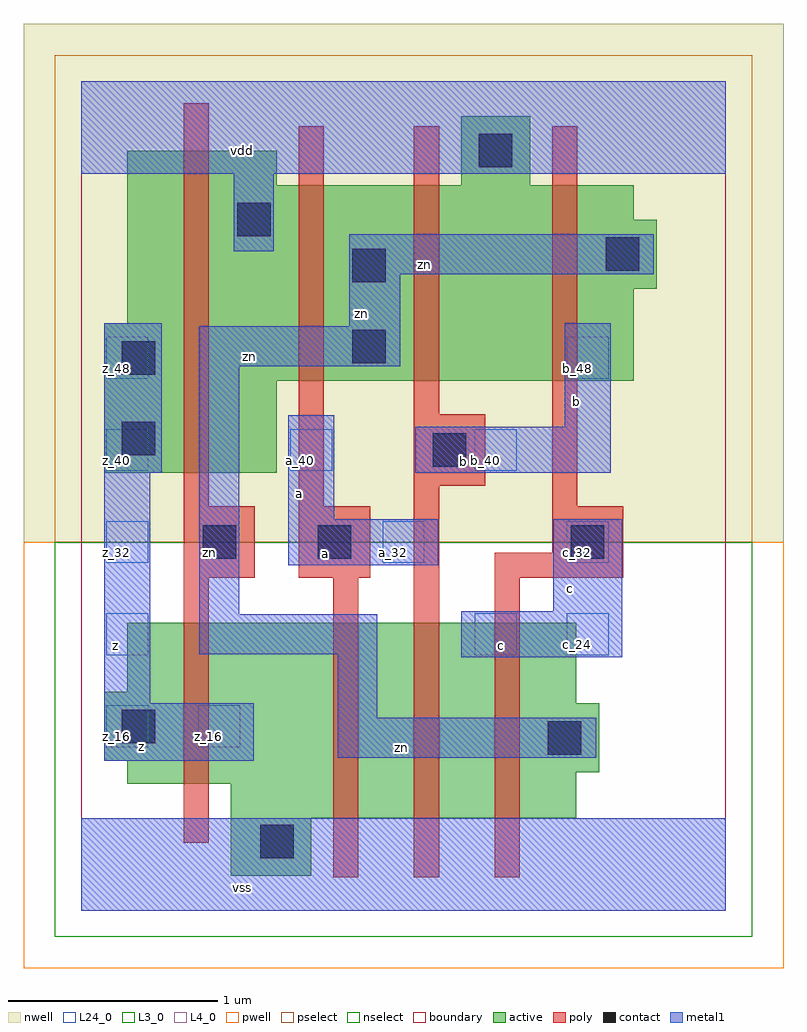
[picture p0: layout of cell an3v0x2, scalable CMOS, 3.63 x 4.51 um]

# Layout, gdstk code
import gdstk
lib = gdstk.Library(unit=1e-6, precision=2.5e-09)
def R(c, l, rs):  # rectangles x0, y0, x1, y1
    for r in rs: c.add(gdstk.rectangle(r[:2], r[2:], *l))
def A(c, l, x, y, w, h, nx, ny, dx, dy):  # array of equal rectangles
    R(c, l, [(x+i*dx, y+j*dy, x+i*dx+w, y+j*dy+h) for i in range(nx) for j in range(ny)])
L3_0 = (3, 0)
L4_0 = (4, 0)
L24_0 = (24, 0)
contact = (25, 0)
pwell = (41, 0)
nwell = (42, 0)
active = (43, 0)
pselect = (44, 0)
nselect = (45, 0)
poly = (46, 0)
metal1 = (49, 0)
boundary = (63, 0)

an3v0x2 = lib.new_cell('an3v0x2')
R(an3v0x2, L3_0, [(0.715,0.165,1.1,0.44), (0.715,0.44,2.365,0.605), (0.22,0.605,2.365,0.66), (0.22,0.66,2.475,0.715), (0.11,0.715,2.475,0.99), (0.11,0.99,2.365,1.045), (0.22,1.045,2.365,1.375)])
R(an3v0x2, L4_0, [(0.11,2.09,0.935,2.53), (0.11,2.53,2.64,2.805), (0.22,2.805,2.64,2.97), (0.22,2.97,2.75,3.3), (0.22,3.3,2.64,3.465), (0.22,3.465,0.935,3.63), (1.815,3.465,2.145,3.795)])
A(an3v0x2, L24_0, 0.12, 0.78, 0.2, 0.2, 1, 3, 0, 0.44)
A(an3v0x2, L24_0, 0.12, 2.1, 0.2, 0.2, 3, 1, 0.88, 0)
R(an3v0x2, L24_0, [(0.56,0.78,0.76,0.98), (1.88,1.22,2.08,1.42), (2.32,1.22,2.52,1.42), (1.44,1.66,1.64,1.86), (2.32,1.66,2.52,1.86), (0.12,2.54,0.32,2.74), (2.32,2.54,2.52,2.74)])
R(an3v0x2, contact, [(0.855,0.25,1.015,0.41), (2.23,0.745,2.39,0.905), (0.195,0.8,0.355,0.96), (0.58,1.68,0.74,1.84), (1.13,1.68,1.29,1.84), (2.34,1.68,2.5,1.84), (1.68,2.12,1.84,2.28), (0.195,2.175,0.355,2.335), (0.195,2.56,0.355,2.72), (1.295,2.615,1.455,2.775), (1.295,3,1.455,3.16), (2.505,3.055,2.665,3.215), (0.745,3.22,0.905,3.38), (1.9,3.55,2.06,3.71)])
R(an3v0x2, pwell, [(-0.275,-0.275,3.355,1.76)])
R(an3v0x2, nwell, [(-0.275,1.76,3.355,4.235)])
R(an3v0x2, active, [(0.715,0.165,1.1,0.44), (0.715,0.44,2.365,0.605), (0.22,0.605,2.365,0.66), (0.22,0.66,2.475,0.715), (0.11,0.715,2.475,0.99), (0.11,0.99,2.365,1.045), (0.22,1.045,2.365,1.375), (0.11,2.09,0.935,2.53), (0.11,2.53,2.64,2.805), (0.22,2.805,2.64,2.97), (0.22,2.97,2.75,3.3), (0.22,3.3,2.64,3.465), (0.22,3.465,0.935,3.63), (1.815,3.465,2.145,3.795)])
R(an3v0x2, pselect, [(-0.125,1.76,3.205,4.085)])
R(an3v0x2, nselect, [(-0.125,-0.125,3.205,1.76)])
R(an3v0x2, poly, [(1.205,0.16,1.325,1.59), (1.59,0.16,1.71,2.03), (1.975,0.16,2.095,1.59), (0.49,0.325,0.61,1.59), (0.49,1.59,0.83,1.93), (1.04,1.59,1.38,1.93), (1.975,1.59,2.59,1.71), (2.25,1.71,2.59,1.93), (0.49,1.93,0.61,3.855), (1.04,1.93,1.16,3.745), (2.25,1.93,2.37,3.745), (1.59,2.03,1.93,2.37), (1.59,2.37,1.71,3.745)])
R(an3v0x2, metal1, [(0,0,3.08,0.44), (0.11,0.715,0.825,0.99), (1.225,0.73,2.46,0.92), (1.225,0.92,1.415,1.225), (0.11,0.99,0.33,2.09), (1.815,1.21,2.585,1.43), (0.565,1.225,1.415,1.415), (0.565,1.415,0.755,2.6), (2.255,1.43,2.585,1.87), (0.99,1.65,1.705,1.87), (0.99,1.87,1.21,2.365), (0.11,2.09,0.385,2.805), (1.595,2.09,2.53,2.31), (2.31,2.31,2.53,2.805), (0.565,2.6,1.525,2.79), (1.28,2.79,1.525,3.04), (1.28,3.04,2.735,3.23), (0.73,3.15,0.92,3.52), (0,3.52,3.08,3.96)])
R(an3v0x2, boundary, [(0,0,3.08,3.96)])
an3v0x2.add(gdstk.Label('vss', (0.77,0.11), layer=49, texttype=0))
an3v0x2.add(gdstk.Label('zn', (1.5325,0.7775), layer=49, texttype=0))
an3v0x2.add(gdstk.Label('c', (2.0075,1.265), layer=49, texttype=0))
an3v0x2.add(gdstk.Label('z', (0.2875,0.7825), layer=49, texttype=0))
an3v0x2.add(gdstk.Label('c', (2.3375,1.54), layer=49, texttype=0))
an3v0x2.add(gdstk.Label('a', (1.1675,1.705), layer=49, texttype=0))
an3v0x2.add(gdstk.Label('b', (1.8275,2.145), layer=49, texttype=0))
an3v0x2.add(gdstk.Label('b', (2.365,2.4325), layer=49, texttype=0))
an3v0x2.add(gdstk.Label('a', (1.045,1.9925), layer=49, texttype=0))
an3v0x2.add(gdstk.Label('zn', (0.6125,1.71), layer=49, texttype=0))
an3v0x2.add(gdstk.Label('z', (0.165,1.265), layer=49, texttype=0))
an3v0x2.add(gdstk.Label('zn', (0.805,2.6475), layer=49, texttype=0))
an3v0x2.add(gdstk.Label('zn', (1.34,2.8525), layer=49, texttype=0))
an3v0x2.add(gdstk.Label('zn', (1.6425,3.0875), layer=49, texttype=0))
an3v0x2.add(gdstk.Label('vdd', (0.77,3.63), layer=49, texttype=0))
an3v0x2.add(gdstk.Label('z_16', (0.61,0.83), layer=24, texttype=0))
an3v0x2.add(gdstk.Label('a_40', (1.05,2.15), layer=24, texttype=0))
an3v0x2.add(gdstk.Label('a_32', (1.49,1.71), layer=24, texttype=0))
an3v0x2.add(gdstk.Label('c_24', (1.93,1.27), layer=24, texttype=0))
an3v0x2.add(gdstk.Label('b_40', (1.93,2.15), layer=24, texttype=0))
an3v0x2.add(gdstk.Label('z_16', (0.17,0.83), layer=24, texttype=0))
an3v0x2.add(gdstk.Label('z_24', (0.17,1.27), layer=24, texttype=0))
an3v0x2.add(gdstk.Label('z_32', (0.17,1.71), layer=24, texttype=0))
an3v0x2.add(gdstk.Label('z_40', (0.17,2.15), layer=24, texttype=0))
an3v0x2.add(gdstk.Label('z_48', (0.17,2.59), layer=24, texttype=0))
an3v0x2.add(gdstk.Label('c_24', (2.37,1.27), layer=24, texttype=0))
an3v0x2.add(gdstk.Label('c_32', (2.37,1.71), layer=24, texttype=0))
an3v0x2.add(gdstk.Label('b_48', (2.37,2.59), layer=24, texttype=0))

lib.write_gds('an3v0x2.gds')
